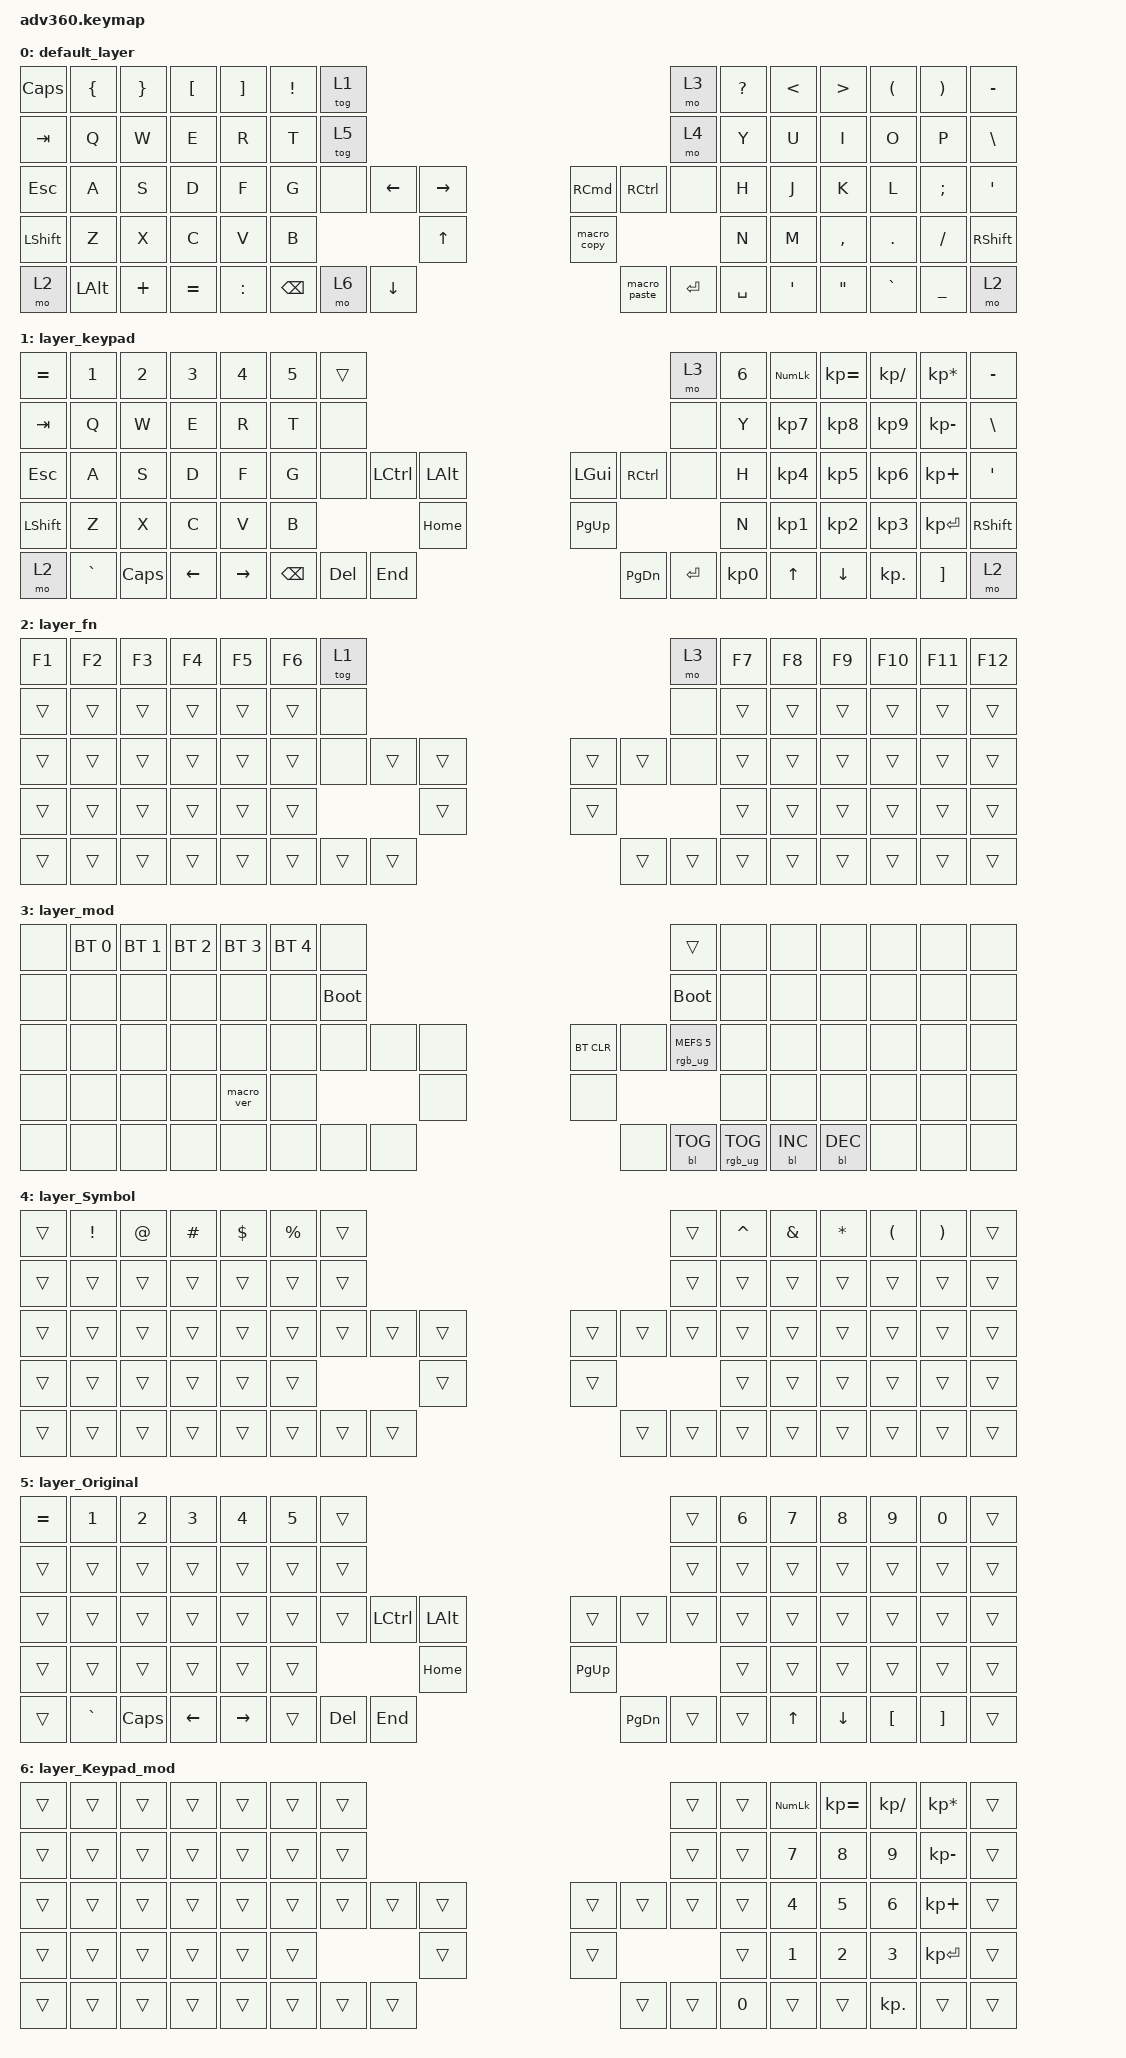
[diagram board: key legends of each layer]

/*
 * Copyright (c) 2020 The ZMK Contributors
 *
 * SPDX-License-Identifier: MIT
 */


/* THIS FILE WAS GENERATED!
 *
 * This file was generated automatically. You may or may not want to
 * edit it directly.
 */

#include <behaviors.dtsi>
#include <dt-bindings/zmk/keys.h>
#include <dt-bindings/zmk/bt.h>
#include <dt-bindings/zmk/rgb.h>
#include <dt-bindings/zmk/backlight.h>

/ {
  behaviors {
    #include "macros.dtsi"
    #include "version.dtsi"

    hm: homerow_mods {
        compatible = "zmk,behavior-hold-tap";
        label = "HOMEROW_MODS";
        #binding-cells = <2>;
        tapping-term-ms = <200>;
        quick_tap_ms = <175>;
        flavor = "tap-preferred";
        bindings = <&kp>, <&kp>;
    };
  };

    keymap {
        compatible = "zmk,keymap";


        default_layer {
            bindings = <
       &kp CAPS  &kp LEFT_BRACE  &kp RIGHT_BRACE  &kp LEFT_BRACKET  &kp RIGHT_BRACKET  &kp EXCLAMATION              &tog 1                                                                         &mo 3  &kp QUESTION  &kp LESS_THAN   &kp GREATER_THAN  &kp LEFT_PARENTHESIS  &kp RIGHT_PARENTHESIS  &kp MINUS
        &kp TAB           &kp Q            &kp W             &kp E              &kp R            &kp T              &tog 5                                                                         &mo 4         &kp Y          &kp U              &kp I                 &kp O                  &kp P   &kp BSLH
        &kp ESC           &kp A            &kp S             &kp D              &kp F            &kp G               &none  &kp LEFT  &kp RIGHT                  &kp RIGHT_COMMAND  &kp RCTRL      &none         &kp H          &kp J              &kp K                 &kp L               &kp SEMI    &kp SQT
 &kp LEFT_SHIFT           &kp Z            &kp X             &kp C              &kp V            &kp B                                   &kp UP                        &macro_copy                               &kp N          &kp M          &kp COMMA               &kp DOT               &kp FSLH  &kp RSHFT
          &mo 2    &kp LEFT_ALT         &kp PLUS         &kp EQUAL          &kp COLON                             &kp BSPC     &mo 6   &kp DOWN                       &macro_paste  &kp ENTER  &kp SPACE                     &kp APOS  &kp DOUBLE_QUOTES             &kp GRAVE         &kp UNDERSCORE      &mo 2
            >;
        };

        layer_keypad {
            bindings = <
 &kp EQUAL     &kp N1    &kp N2    &kp N3     &kp N4  &kp N5              &trans                                                                 &mo 3  &kp N6  &kp KP_NUM  &kp KP_EQUAL  &kp KP_DIVIDE  &kp KP_MULTIPLY  &kp MINUS
   &kp TAB      &kp Q     &kp W     &kp E      &kp R   &kp T               &none                                                                 &none   &kp Y   &kp KP_N7     &kp KP_N8      &kp KP_N9     &kp KP_MINUS   &kp BSLH
   &kp ESC      &kp A     &kp S     &kp D      &kp F   &kp G               &none  &kp LCTRL  &kp LALT                   &kp LGUI  &kp RCTRL      &none   &kp H   &kp KP_N4     &kp KP_N5      &kp KP_N6      &kp KP_PLUS    &kp SQT
 &kp LSHFT      &kp Z     &kp X     &kp C      &kp V   &kp B                                 &kp HOME                  &kp PG_UP                         &kp N   &kp KP_N1     &kp KP_N2      &kp KP_N3     &kp KP_ENTER  &kp RSHFT
     &mo 2  &kp GRAVE  &kp CAPS  &kp LEFT  &kp RIGHT                    &kp BSPC    &kp DEL   &kp END                  &kp PG_DN  &kp ENTER  &kp KP_N0              &kp UP      &kp DOWN     &kp KP_DOT         &kp RBKT      &mo 2
            >;
        };

        layer_fn {
            bindings = <
 &kp F1  &kp F2  &kp F3  &kp F4  &kp F5  &kp F6            &tog 1                                                   &mo 3  &kp F7  &kp F8  &kp F9  &kp F10  &kp F11  &kp F12
 &trans  &trans  &trans  &trans  &trans  &trans             &none                                                   &none  &trans  &trans  &trans   &trans   &trans   &trans
 &trans  &trans  &trans  &trans  &trans  &trans             &none  &trans  &trans                  &trans  &trans   &none  &trans  &trans  &trans   &trans   &trans   &trans
 &trans  &trans  &trans  &trans  &trans  &trans                            &trans                  &trans                  &trans  &trans  &trans   &trans   &trans   &trans
 &trans  &trans  &trans  &trans  &trans                    &trans  &trans  &trans                  &trans  &trans  &trans          &trans  &trans   &trans   &trans   &trans
            >;
        };

        layer_mod {
            bindings = <
  &none  &bt BT_SEL 0  &bt BT_SEL 1  &bt BT_SEL 2  &bt BT_SEL 3  &bt BT_SEL 4                  &none                                                                          &trans   &none       &none       &none   &none   &none   &none
  &none         &none         &none         &none         &none         &none            &bootloader                                                                     &bootloader   &none       &none       &none   &none   &none   &none
  &none         &none         &none         &none         &none         &none                  &none   &none   &none                  &bt BT_CLR       &none  &rgb_ug RGB_MEFS_CMD 5   &none       &none       &none   &none   &none   &none
  &none         &none         &none         &none    &macro_ver         &none                                  &none                       &none                                       &none       &none       &none   &none   &none   &none
  &none         &none         &none         &none         &none                                &none   &none   &none                       &none  &bl BL_TOG         &rgb_ug RGB_TOG          &bl BL_INC  &bl BL_DEC   &none   &none   &none
            >;
        };

        layer_Symbol {
            bindings = <
 &trans  &kp EXCLAMATION  &kp AT  &kp HASH  &kp DOLLAR  &kp PERCENT            &trans                                                  &trans  &kp CARET  &kp AMPS  &kp ASTERISK  &kp LEFT_PARENTHESIS  &kp RIGHT_PARENTHESIS  &trans
 &trans           &trans  &trans    &trans      &trans       &trans            &trans                                                  &trans     &trans    &trans        &trans                &trans                 &trans  &trans
 &trans           &trans  &trans    &trans      &trans       &trans            &trans  &trans  &trans                  &trans  &trans  &trans     &trans    &trans        &trans                &trans                 &trans  &trans
 &trans           &trans  &trans    &trans      &trans       &trans                            &trans                  &trans                     &trans    &trans        &trans                &trans                 &trans  &trans
 &trans           &trans  &trans    &trans      &trans                         &trans  &trans  &trans                  &trans  &trans  &trans               &trans        &trans                &trans                 &trans  &trans
            >;
        };

        layer_Original {
            bindings = <
 &kp EQUAL     &kp N1    &kp N2    &kp N3     &kp N4  &kp N5            &trans                                                                         &trans  &kp N6  &kp N7    &kp N8            &kp N9             &kp N0  &trans
    &trans     &trans    &trans    &trans     &trans  &trans            &trans                                                                         &trans  &trans  &trans    &trans            &trans             &trans  &trans
    &trans     &trans    &trans    &trans     &trans  &trans            &trans  &kp LEFT_CONTROL  &kp LEFT_ALT                         &trans  &trans  &trans  &trans  &trans    &trans            &trans             &trans  &trans
    &trans     &trans    &trans    &trans     &trans  &trans                                          &kp HOME                    &kp PAGE_UP                  &trans  &trans    &trans            &trans             &trans  &trans
    &trans  &kp GRAVE  &kp CAPS  &kp LEFT  &kp RIGHT                    &trans        &kp DELETE       &kp END                  &kp PAGE_DOWN  &trans  &trans          &kp UP  &kp DOWN  &kp LEFT_BRACKET  &kp RIGHT_BRACKET  &trans
            >;
        };

        layer_Keypad_mod {
            bindings = <
 &trans  &trans  &trans  &trans  &trans  &trans            &trans                                                  &trans  &trans  &kp KP_NUM  &kp KP_EQUAL  &kp KP_SLASH  &kp KP_MULTIPLY  &trans
 &trans  &trans  &trans  &trans  &trans  &trans            &trans                                                  &trans  &trans      &kp N7        &kp N8        &kp N9     &kp KP_MINUS  &trans
 &trans  &trans  &trans  &trans  &trans  &trans            &trans  &trans  &trans                  &trans  &trans  &trans  &trans      &kp N4        &kp N5        &kp N6      &kp KP_PLUS  &trans
 &trans  &trans  &trans  &trans  &trans  &trans                            &trans                  &trans                  &trans      &kp N1        &kp N2        &kp N3     &kp KP_ENTER  &trans
 &trans  &trans  &trans  &trans  &trans                    &trans  &trans  &trans                  &trans  &trans  &kp N0              &trans        &trans    &kp KP_DOT           &trans  &trans
            >;
        };

    };
};
